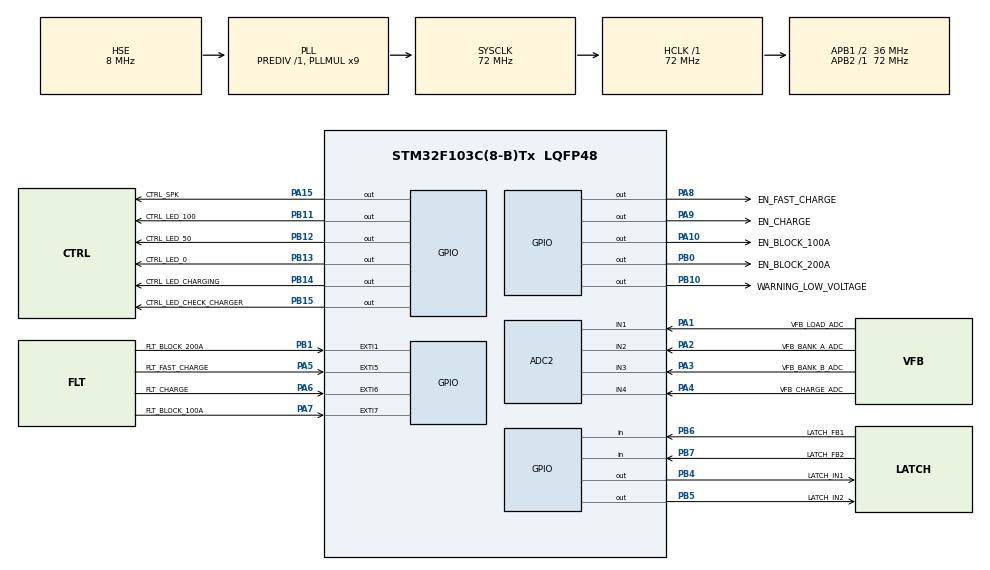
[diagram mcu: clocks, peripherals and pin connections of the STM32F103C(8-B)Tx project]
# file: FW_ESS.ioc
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ADC2.Channel-0\#ChannelRegularConversion=ADC_CHANNEL_1
ADC2.NbrOfConversionFlag=1
ADC2.Rank-0\#ChannelRegularConversion=1
ADC2.SamplingTime-0\#ChannelRegularConversion=ADC_SAMPLETIME_1CYCLE_5
Mcu.Family=STM32F1
Mcu.Name=STM32F103C(8-B)Tx
Mcu.Package=LQFP48
NVIC.PriorityGroup=NVIC_PRIORITYGROUP_4
PA1.GPIO_Label=VFB_LOAD_ADC
PA1.Signal=ADCx_IN1
PA10.GPIO_Label=EN_BLOCK_100A
PA10.Signal=GPIO_Output
PA15.GPIO_Label=CTRL_SPK
PA15.Signal=GPIO_Output
PA2.GPIO_Label=VFB_BANK_A_ADC
PA2.Signal=ADCx_IN2
PA3.GPIO_Label=VFB_BANK_B_ADC
PA3.Signal=ADCx_IN3
PA4.GPIO_Label=VFB_CHARGE_ADC
PA4.Signal=ADCx_IN4
PA5.GPIO_Label=FLT_FAST_CHARGE
PA5.Signal=GPXTI5
PA6.GPIO_Label=FLT_CHARGE
PA6.Signal=GPXTI6
PA7.GPIO_Label=FLT_BLOCK_100A
PA7.Signal=GPXTI7
PA8.GPIO_Label=EN_FAST_CHARGE
PA8.Signal=GPIO_Output
PA9.GPIO_Label=EN_CHARGE
PA9.Signal=GPIO_Output
PB0.GPIO_Label=EN_BLOCK_200A
PB0.Signal=GPIO_Output
PB1.GPIO_Label=FLT_BLOCK_200A
PB1.Signal=GPXTI1
PB10.GPIO_Label=WARNING_LOW_VOLTAGE
PB10.Signal=GPIO_Output
PB11.GPIO_Label=CTRL_LED_100
PB11.Signal=GPIO_Output
PB12.GPIO_Label=CTRL_LED_50
PB12.Signal=GPIO_Output
PB13.GPIO_Label=CTRL_LED_0
PB13.Signal=GPIO_Output
PB14.GPIO_Label=CTRL_LED_CHARGING
PB14.Signal=GPIO_Output
PB15.GPIO_Label=CTRL_LED_CHECK_CHARGER
PB15.Signal=GPIO_Output
PB4.GPIO_Label=LATCH_IN1
PB4.Signal=GPIO_Output
PB5.GPIO_Label=LATCH_IN2
PB5.Signal=GPIO_Output
PB6.GPIO_Label=LATCH_FB1
PB6.Signal=GPIO_Input
PB7.GPIO_Label=LATCH_FB2
PB7.Signal=GPIO_Input
PD0-OSC_IN.Mode=HSE-External-Oscillator
PD0-OSC_IN.Signal=RCC_OSC_IN
PD1-OSC_OUT.Mode=HSE-External-Oscillator
PD1-OSC_OUT.Signal=RCC_OSC_OUT
ProjectManager.HeapSize=0x200
ProjectManager.StackSize=0x400
ProjectManager.TargetToolchain=STM32CubeIDE
RCC.ADCPresc=RCC_ADCPCLK2_DIV6
RCC.AHBFreq_Value=72000000
RCC.APB1CLKDivider=RCC_HCLK_DIV2
RCC.APB1Freq_Value=36000000
RCC.APB1TimFreq_Value=72000000
RCC.APB2Freq_Value=72000000
RCC.APB2TimFreq_Value=72000000
RCC.HCLKFreq_Value=72000000
RCC.PLLMUL=RCC_PLL_MUL9
RCC.PLLSourceVirtual=RCC_PLLSOURCE_HSE
RCC.SYSCLKFreq_VALUE=72000000
RCC.SYSCLKSource=RCC_SYSCLKSOURCE_PLLCLK
RCC.USBFreq_Value=48000000
RCC.USBPrescaler=RCC_USBCLKSOURCE_PLL_DIV1_5
SH.ADCx_IN1.0=ADC2_IN1,IN1
SH.ADCx_IN2.0=ADC2_IN2,IN2
SH.ADCx_IN3.0=ADC2_IN3,IN3
SH.ADCx_IN4.0=ADC2_IN4,IN4
TIM2.Period=999
TIM2.Prescaler=71
VP_SYS_VS_ND.Mode=No_Debug
VP_TIM2_VS_ClockSourceINT.Mode=Internal
board=custom

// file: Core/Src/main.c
/* USER CODE BEGIN Header */
/**
 ******************************************************************************
 * @file           : main.c
 * @brief          : Main program body
 ******************************************************************************
 * @attention
 *
 * Copyright (c) 2025 STMicroelectronics.
 * All rights reserved.
 *
 * This software is licensed under terms that can be found in the LICENSE file
 * in the root directory of this software component.
 * If no LICENSE file comes with this software, it is provided AS-IS.
 *
 ******************************************************************************
 */
/* USER CODE END Header */
#include "main.h"
#include "adc.h"
#include "tim.h"
//#include "usb_device.h"
#include "gpio.h"

/* USER CODE BEGIN Includes */
#include "system_control.h"
#include "battery_management.h"
#include "fault_handling.h"
//#include "usb_com.h"
/* USER CODE END Includes */

void SystemClock_Config(void);

/* USER CODE BEGIN 0 */
SystemState_t systemState = { .batteryLevel = 0, .state = STATE_STANDBY,
		.fault = FAULT_NONE, .voltages = { 0, 0, 0, 0 } };

uint8_t receiveBuffer[64];
uint8_t commandReady = 0;
/* USER CODE END 0 */

int main(void) {

	/* MCU Configuration--------------------------------------------------------*/

	/* Reset of all peripherals, Initializes the Flash interface and the Systick. */
	HAL_Init();

	/* Configure the system clock */
	SystemClock_Config();

	/* Initialize all configured peripherals */
	MX_GPIO_Init();
	MX_ADC2_Init();
	//MX_USB_DEVICE_Init();
	MX_TIM2_Init();

	/* Infinite loop */
	while (1) {

		/* USER CODE BEGIN 3 */
		/* Process incoming commands */

		/*/	if (commandReady) {
		 ProcessCommand();
		 commandReady = 0;
		 }*/

		ADC_ReadAll(systemState.voltages); // Read ADC directly
		//systemState.batteryLevel = BATTERY_CalculateLevel(
				//systemState.voltages[BANK_A]);

		/* Update system state */
		SYSTEM_Update();

		/* Check for faults */
		FAULT_Check();

		/* Update battery state */
		BATTERY_Update();

		/* Send periodic status if needed */
		/*if (SYSTEM_ShouldSendStatus()) {
		 USB_SendStatus(&systemState);
		 }
		 }*/
		/* USER CODE END 3 */
	}
}
void SystemClock_Config(void) {
	RCC_OscInitTypeDef RCC_OscInitStruct = { 0 };
	RCC_ClkInitTypeDef RCC_ClkInitStruct = { 0 };
	RCC_PeriphCLKInitTypeDef PeriphClkInit = { 0 };

	/** Initializes the RCC Oscillators according to the specified parameters
	 * in the RCC_OscInitTypeDef structure.
	 */
	RCC_OscInitStruct.OscillatorType = RCC_OSCILLATORTYPE_HSE;
	RCC_OscInitStruct.HSEState = RCC_HSE_ON;
	RCC_OscInitStruct.HSEPredivValue = RCC_HSE_PREDIV_DIV1;
	RCC_OscInitStruct.HSIState = RCC_HSI_ON;
	RCC_OscInitStruct.PLL.PLLState = RCC_PLL_ON;
	RCC_OscInitStruct.PLL.PLLSource = RCC_PLLSOURCE_HSE;
	RCC_OscInitStruct.PLL.PLLMUL = RCC_PLL_MUL9;
	if (HAL_RCC_OscConfig(&RCC_OscInitStruct) != HAL_OK) {
		Error_Handler();
	}

	/** Initializes the CPU, AHB and APB buses clocks
	 */
	RCC_ClkInitStruct.ClockType = RCC_CLOCKTYPE_HCLK | RCC_CLOCKTYPE_SYSCLK
			| RCC_CLOCKTYPE_PCLK1 | RCC_CLOCKTYPE_PCLK2;
	RCC_ClkInitStruct.SYSCLKSource = RCC_SYSCLKSOURCE_PLLCLK;
	RCC_ClkInitStruct.AHBCLKDivider = RCC_SYSCLK_DIV1;
	RCC_ClkInitStruct.APB1CLKDivider = RCC_HCLK_DIV2;
	RCC_ClkInitStruct.APB2CLKDivider = RCC_HCLK_DIV1;

	if (HAL_RCC_ClockConfig(&RCC_ClkInitStruct, FLASH_LATENCY_2) != HAL_OK) {
		Error_Handler();
	}
	PeriphClkInit.PeriphClockSelection = RCC_PERIPHCLK_ADC;
	PeriphClkInit.AdcClockSelection = RCC_ADCPCLK2_DIV6;
	//PeriphClkInit.UsbClockSelection = RCC_USBCLKSOURCE_PLL_DIV1_5;
	if (HAL_RCCEx_PeriphCLKConfig(&PeriphClkInit) != HAL_OK) {
		Error_Handler();
	}
}

/* USER CODE BEGIN 4 */
// Add this to main.c in the ProcessCommand function
/**
 * @brief  Process received command from USB
 * @note   Parse and execute commands from the PC application
 * @retval None
 */
/*
void ProcessCommand(void) {
	char cmd = receiveBuffer[0];

	switch (cmd) {
	case 'S': // Status request
		// Update all values and send status
		ADC_ReadAll(systemState.voltages);
		systemState.batteryLevel = BATTERY_CalculateLevel(
				systemState.voltages[BANK_A]);
		//USB_SendStatus(&systemState);
		break;

	case 'L': // LED control (L0-5)(0-1)
		if (receiveBuffer[1] >= '0' && receiveBuffer[1] <= '5'
				&& receiveBuffer[2] >= '0' && receiveBuffer[2] <= '1') {
			uint8_t ledIndex = receiveBuffer[1] - '0';
			uint8_t ledState = receiveBuffer[2] - '0';
			SYSTEM_SetLED(ledIndex, ledState);
		}
		break;

	case 'C': // Charge control (C0-2)
		if (receiveBuffer[1] >= '0' && receiveBuffer[1] <= '2') {
			uint8_t chargeMode = receiveBuffer[1] - '0';
			SYSTEM_SetChargeMode(chargeMode);
		}
		break;

	case 'P': // Power output control (P0-1)
		if (receiveBuffer[1] >= '0' && receiveBuffer[1] <= '1') {
			uint8_t powerState = receiveBuffer[1] - '0';
			SYSTEM_SetPowerOutput(powerState);
		}
		break;

	case 'R': // Relay control (R0-2)
		if (receiveBuffer[1] >= '0' && receiveBuffer[1] <= '2') {
			uint8_t relayMode = receiveBuffer[1] - '0';
			SYSTEM_SetRelayMode(relayMode);
		}
		break;

	case 'E': // Individual enable signal control (E0-3)(0-1)
		if (receiveBuffer[1] >= '0' && receiveBuffer[1] <= '3'
				&& receiveBuffer[2] >= '0' && receiveBuffer[2] <= '1') {
			uint8_t signalIndex = receiveBuffer[1] - '0';
			uint8_t signalState = receiveBuffer[2] - '0';
			SYSTEM_SetEnableSignal(signalIndex, signalState);
		}
		break;

	default:
		break;
	}
}
*/

/**
 * @brief  USB CDC Received data callback
 * @note   Called by USB CDC when new data is received
 * @param  buffer: Pointer to received data
 * @param  length: Number of received bytes
 * @retval None
 */
/*void USB_DataReceived(uint8_t* buffer, uint32_t length)
 {
 if (length > 0 && length < sizeof(receiveBuffer)) {
 memcpy(receiveBuffer, buffer, length);
 receiveBuffer[length] = 0; // Null-terminate
 commandReady = 1;
 }
 }*/

/**
 * @brief  Timer elapsed callback
 * @note   This function is called when the timer period elapses
 * @param  htim: Timer handle
 * @retval None
 */
void HAL_TIM_PeriodElapsedCallback(TIM_HandleTypeDef *htim) {
	if (htim->Instance == TIM2) {
		// 1ms timer for system timing
		SYSTEM_TimerTick();
	}
}

/**
 * @brief  GPIO EXTI callback
 * @note   Called when configured GPIO interrupts occur
 * @param  GPIO_Pin: Specifies the pin that triggered the interrupt
 * @retval None
 */
void HAL_GPIO_EXTI_Callback(uint16_t GPIO_Pin) {
	if (GPIO_Pin == FLT_BLOCK_100A_Pin) {
		FAULT_SetFaultFlag(FAULT_BLOCK_100A);
	} else if (GPIO_Pin == FLT_BLOCK_200A_Pin) {
		FAULT_SetFaultFlag(FAULT_BLOCK_200A);
	} else if (GPIO_Pin == FLT_CHARGE_Pin) {
		FAULT_SetFaultFlag(FAULT_CHARGE);
	} else if (GPIO_Pin == FLT_FAST_CHARGE_Pin) {
		FAULT_SetFaultFlag(FAULT_FAST_CHARGE);
	}
}
/* USER CODE END 4 */

void Error_Handler(void) {
	__disable_irq();
	while (1) {
	}
}
